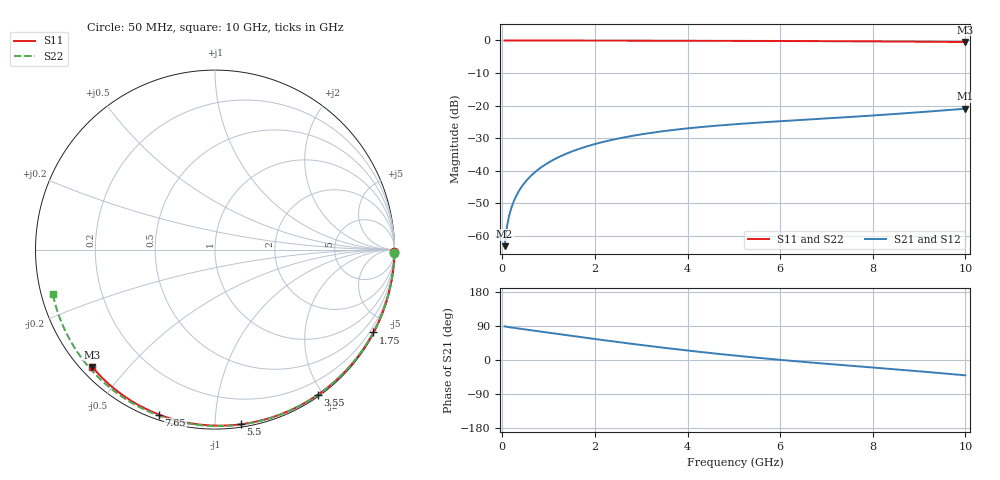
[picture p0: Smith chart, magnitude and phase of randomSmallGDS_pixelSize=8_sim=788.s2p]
! freq	dB(S11)	phase(S11)	dB(S12)	phase(S12)
!  dB(S21)	phase(S21)	dB(S22)	phase(S22)
!S-par simulation data
#  GHz  S  DB  R 50
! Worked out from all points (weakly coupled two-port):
!   200 points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, 50 MHz to 10 GHz, reference 50 ohm
!   highest |S21| = -20.93 dB at 10 GHz (marker M1); lowest = -63.1 dB at 50 MHz (marker M2)
!   lowest |S11| = -0.5 dB at 10 GHz (marker M3), VSWR 36.14, Z = 1.61 - j20 ohm
!   |S11| at or under -10 dB: nowhere
!   |S22| runs from -0.6 to 0.0 dB; largest |S21 - S12| = 0
!   S11 on the Smith chart (normalised r, x): 50 MHz: open; 1.75 GHz: 0.04, -4.07; 3.55 GHz: 0.02, -1.94; 5.5 GHz: 0.02, -1.16; 7.65 GHz: 0.02, -0.72; 10 GHz: 0.03, -0.40
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0.05  -0.00 -0.8  -63.09 88.7  -63.09 88.7  -0.00 -1.0
0.1  -0.00 -1.6  -57.10 87.6  -57.10 87.6  -0.00 -1.9
0.15  -0.00 -2.4  -53.62 86.5  -53.62 86.5  -0.00 -2.9
0.2  -0.00 -3.2  -51.16 85.6  -51.16 85.6  -0.00 -3.9
0.25  -0.00 -4.0  -49.26 84.8  -49.26 84.8  -0.00 -4.8
0.35  -0.00 -5.6  -46.38 83.1  -46.38 83.1  -0.01 -6.8
0.5  -0.01 -8.0  -43.33 80.6  -43.33 80.6  -0.01 -9.7
0.7  -0.01 -11.2  -40.45 77.3  -40.45 77.3  -0.02 -13.5
1  -0.02 -15.9  -37.43 72.2  -37.43 72.2  -0.02 -19.2
1.35  -0.03 -21.4  -34.93 66.2  -34.93 66.2  -0.03 -25.8
1.75  -0.04 -27.6  -32.82 59.5  -32.82 59.5  -0.04 -33.3
2.6  -0.06 -40.6  -29.81 45.7  -29.81 45.7  -0.07 -48.8
3.4  -0.08 -52.4  -27.97 33.6  -27.97 33.6  -0.09 -62.9
3.55  -0.08 -54.6  -27.69 31.4  -27.69 31.4  -0.09 -65.5
4.3  -0.10 -65.3  -26.54 20.9  -26.54 20.9  -0.12 -78.1
5.05  -0.12 -75.6  -25.66 11.4  -25.66 11.4  -0.15 -90.3
5.5  -0.14 -81.6  -25.22 6.0  -25.22 6.0  -0.17 -97.4
6.7  -0.20 -97.1  -24.17 -7.0  -24.17 -7.0  -0.24 -115.7
7.65  -0.26 -108.7  -23.34 -16.4  -23.34 -16.4  -0.31 -129.8
8.35  -0.31 -117.1  -22.68 -23.3  -22.68 -23.3  -0.37 -140.1
9.2  -0.39 -127.1  -21.81 -31.9  -21.81 -31.9  -0.46 -152.7
10  -0.48 -136.3  -20.93 -40.5  -20.93 -40.5  -0.56 -164.8
